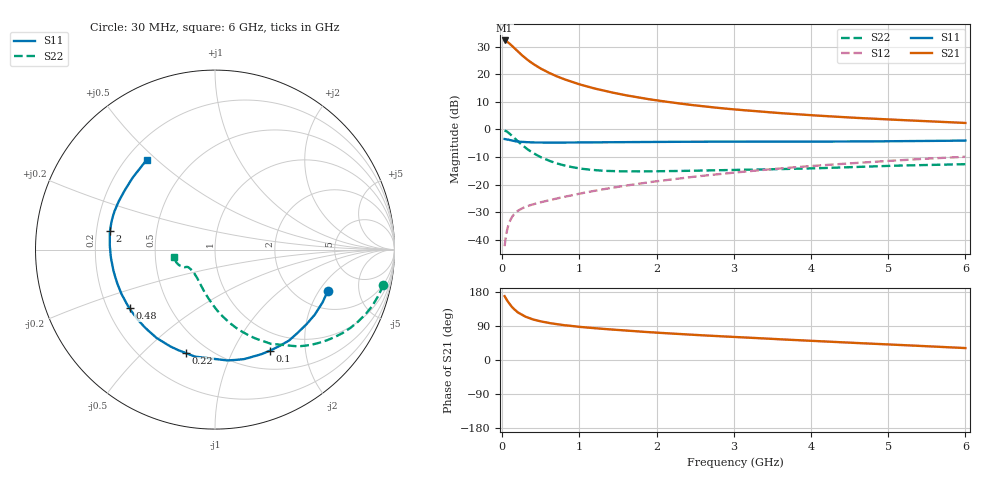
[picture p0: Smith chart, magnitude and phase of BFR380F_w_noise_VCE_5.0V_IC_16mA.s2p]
! Infineon Technologies  Discrete & RF Semiconductors
! BFR380F
! VCE =  5.0 V,  IC =  16 mA
! Common Emitter S-Parameters:  Nov 2015
# GHz  S  MA  R  50
!  f  S11  S21  S12  S22
! GHz  MAG  ANG  MAG  ANG  MAG  ANG  MAG  ANG
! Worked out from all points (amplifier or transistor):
!   206 points, 30 MHz to 6 GHz, reference 50 ohm
!   highest |S21| = 32.3 dB at 30 MHz (marker M1)
!   |S21| within 3 dB of that: start of sweep to 164.2 MHz
!   unconditionally stable (mu >= 1): 1.506 GHz to 5.036 GHz
!   at 200 MHz: K = 0.32, MSG = 28.9 dB, |S12| = -29.6 dB
!   at 1.56 GHz: K = 1.01, MAG = 16.1 dB, |S12| = -20.6 dB
!   at 6 GHz: K = 0.98, MSG = 6.1 dB, |S12| = -9.9 dB
!   lowest NFmin = 0.97 dB at 900 MHz
!   S11 on the Smith chart (normalised r, x): 30 MHz: 2.92, -2.41; 100 MHz: 0.74, -1.41; 220 MHz: 0.38, -0.69; 480 MHz: 0.29, -0.29; 2 GHz: 0.26, +0.08; 6 GHz: 0.28, +0.46
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0.03  0.6697 -19.9  41.19 168.5  0.0076 80.8  0.9586 -11.9
0.05  0.6636 -33.1  40.21 161.1  0.0124 76.5  0.9318 -19.5
0.07  0.6535 -45.2  38.47 154.7  0.0165 71.2  0.8931 -26.6
0.1  0.6409 -61.4  35.5 146.2  0.022 65.0  0.8257 -36.2
0.12  0.6327 -70.8  33.42 141.2  0.0251 61.7  0.7788 -41.8
0.15  0.6212 -83.7  30.5 134.6  0.0286 57.5  0.7111 -49.3
0.2  0.6065 -100.6  26.02 125.8  0.0332 52.9  0.6106 -59.3
0.22  0.5991 -105.5  24.57 123.5  0.0345 51.7  0.577 -62.2
0.26  0.5937 -115.1  21.89 118.6  0.0371 49.8  0.5163 -68.3
0.3  0.5901 -123.4  19.61 114.3  0.0393 48.7  0.465 -73.6
0.4  0.5809 -137.6  15.46 106.9  0.0437 48.1  0.3734 -83.6
0.48  0.5778 -145.5  13.19 102.8  0.0468 48.7  0.3237 -89.9
0.6  0.5766 -154.4  10.72 97.8  0.0515 50.4  0.272 -98.1
0.7  0.5763 -159.8  9.275 94.7  0.0555 51.9  0.243 -104.0
1.04  0.579 -172.1  6.349 86.8  0.0699 56.8  0.1926 -119.3
1.4  0.5854 179.5  4.746 80.6  0.0862 60.1  0.1756 -131.1
2  0.5943 170.0  3.366 72.2  0.1147 62.9  0.1739 -141.4
2.02  0.5943 169.7  3.337 72.0  0.1157 62.9  0.174 -141.6
3.1  0.5991 157.6  2.25 59.8  0.1694 63.4  0.1846 -148.6
4.1  0.6014 147.1  1.776 49.6  0.2214 61.1  0.1977 -150.5
5.1  0.6103 137.4  1.495 40.2  0.2732 57.7  0.2199 -157.6
6  0.6285 127.3  1.31 31.5  0.3187 53.3  0.2338 -169.3
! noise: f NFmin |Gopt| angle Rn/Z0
0.45  0.99  0.14  165  0.08
0.9  0.97  0.22  162  0.08
1.8  1.22  0.33  179  0.07
1.9  1.29  0.33  -180  0.07
2.4  1.4  0.38  -168  0.08
3.5  1.99  0.48  -155  0.12
